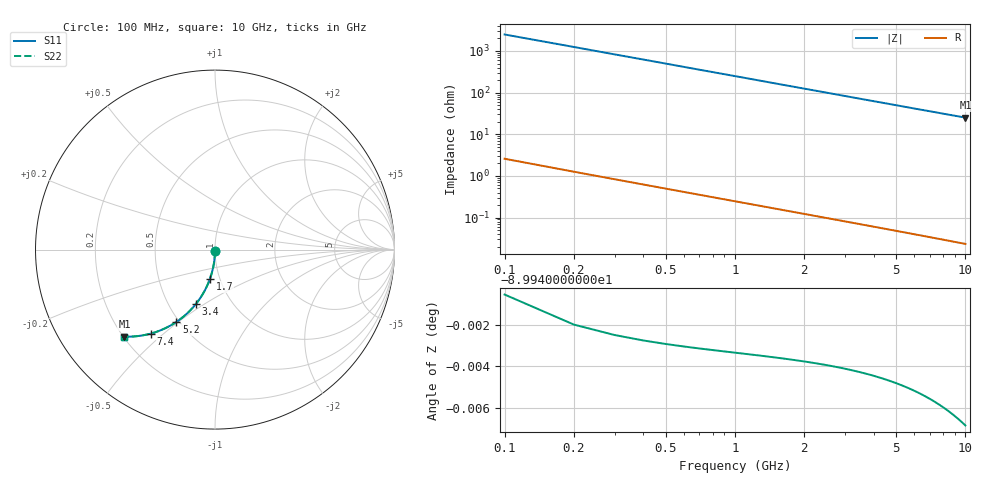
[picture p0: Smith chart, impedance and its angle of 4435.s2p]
# Hz S RI R 50.00
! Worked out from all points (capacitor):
!   100 points, 100 MHz to 10 GHz, reference 50 ohm
!   read as one part in shunt: C = 639 fF near 100 MHz
!   lowest |Z| = 25.1 ohm at 10 GHz (marker M1)
!   S11 on the Smith chart (normalised r, x): 100 MHz: 1.00, -0.02; 1.7 GHz: 0.90, -0.30; 3.4 GHz: 0.69, -0.46; 5.2 GHz: 0.48, -0.49; 7.4 GHz: 0.32, -0.45; 10 GHz: 0.20, -0.39
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1e8  -4.48e-05 -0.00988  0.9998 -0.0102  0.9998 -0.0102  -4.48e-05 -0.00988
2e8  -0.000356 -0.0198  0.9995 -0.0203  0.9995 -0.0203  -0.000356 -0.0198
3e8  -0.000868 -0.0296  0.999 -0.0305  0.999 -0.0305  -0.000868 -0.0296
4e8  -0.00158 -0.0395  0.9983 -0.0406  0.9983 -0.0406  -0.00158 -0.0395
5e8  -0.00249 -0.0493  0.9974 -0.0508  0.9974 -0.0508  -0.00249 -0.0493
6e8  -0.0036 -0.0591  0.9963 -0.0608  0.9963 -0.0608  -0.0036 -0.0591
8e8  -0.00641 -0.0786  0.9935 -0.0809  0.9935 -0.0809  -0.00641 -0.0786
1.1e9  -0.0121 -0.1074  0.9878 -0.1106  0.9878 -0.1106  -0.0121 -0.1074
1.4e9  -0.0194 -0.1357  0.9804 -0.1398  0.9804 -0.1398  -0.0194 -0.1357
1.7e9  -0.0284 -0.1632  0.9715 -0.1682  0.9715 -0.1682  -0.0284 -0.1632
1.8e9  -0.0317 -0.1722  0.9682 -0.1775  0.9682 -0.1775  -0.0317 -0.1722
2.1e9  -0.0426 -0.1986  0.9572 -0.2048  0.9572 -0.2048  -0.0426 -0.1986
2.5e9  -0.0594 -0.2323  0.9405 -0.2396  0.9405 -0.2396  -0.0594 -0.2323
2.9e9  -0.0783 -0.264  0.9215 -0.2725  0.9215 -0.2725  -0.0783 -0.264
3.4e9  -0.1045 -0.3006  0.8953 -0.3106  0.8953 -0.3106  -0.1045 -0.3006
4.2e9  -0.1513 -0.3517  0.8485 -0.3641  0.8485 -0.3641  -0.1513 -0.3517
5.1e9  -0.2082 -0.3981  0.7915 -0.4132  0.7915 -0.4132  -0.2082 -0.3981
5.2e9  -0.2147 -0.4025  0.785 -0.4179  0.785 -0.4179  -0.2147 -0.4025
6.7e9  -0.3126 -0.4532  0.6871 -0.4731  0.6871 -0.4731  -0.3126 -0.4532
7.4e9  -0.357 -0.4677  0.6426 -0.4897  0.6426 -0.4897  -0.357 -0.4677
8.4e9  -0.4174 -0.4801  0.5821 -0.5052  0.5821 -0.5052  -0.4174 -0.4801
1e10  -0.5046 -0.4845  0.4948 -0.5145  0.4948 -0.5145  -0.5046 -0.4845
